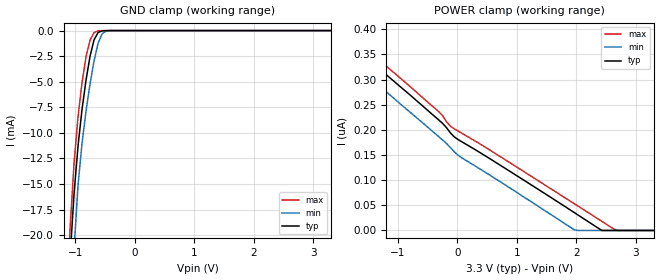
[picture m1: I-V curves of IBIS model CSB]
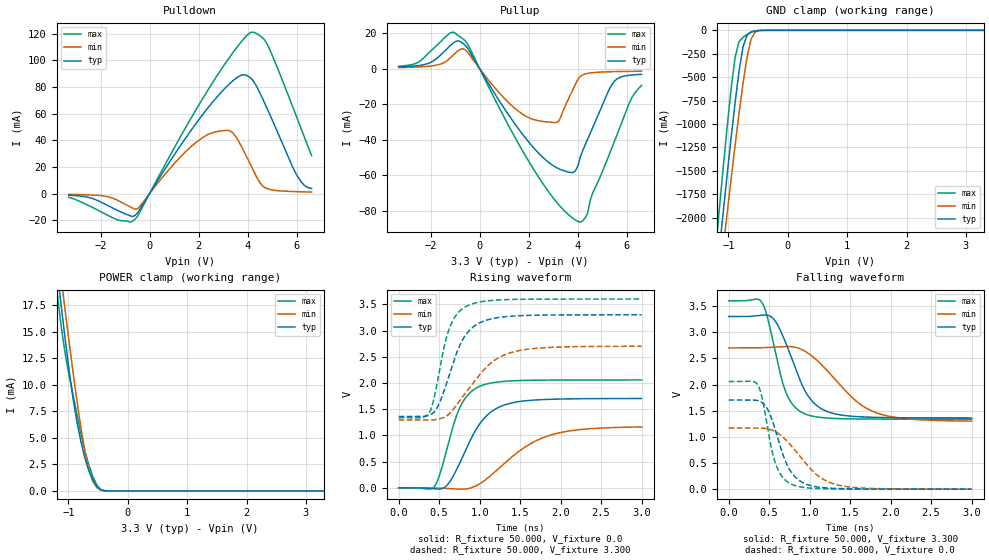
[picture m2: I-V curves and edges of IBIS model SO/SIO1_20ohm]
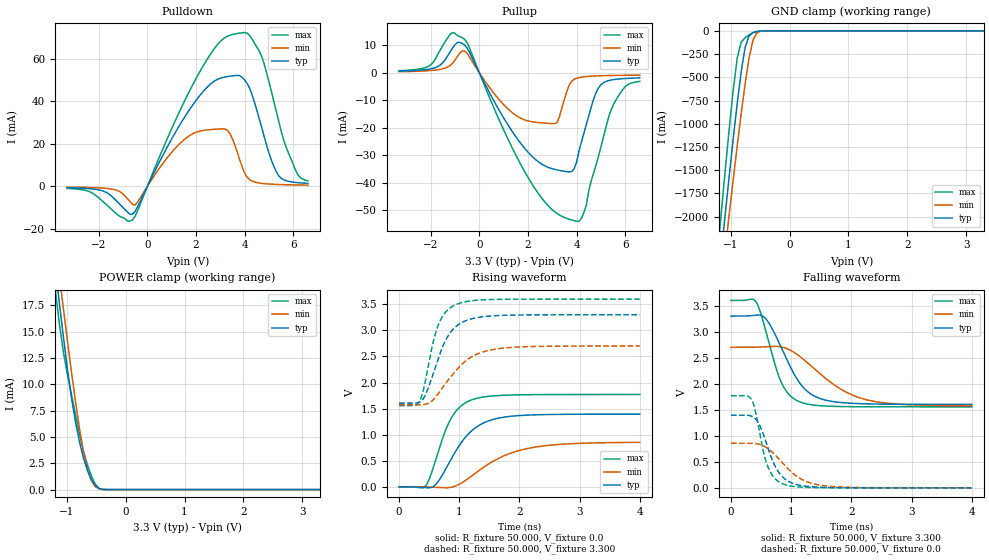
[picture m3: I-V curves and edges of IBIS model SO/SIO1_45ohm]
[IBIS Ver] 5.0
[File Name] mx25l51245gz2i-08g.ibs
[File Rev] @(#)$Revision: 1.1 $
[Date] @(#)$Date: 2025/09/03 17:04:39 $
[Source] From Macronix International Co., Ltd.
   Layout Version   : j
   SPICE Model Version : 18
   HSPICE Tool Version : F-2011.09-SP2(T19)
[Notes] Generated IBIS models from SPICE simulation data
[Disclaimer] FOR UNRESTRICTED INTERNAL USE ONLY
 UNAUTHORIZED REPRODUCTION AND/OR DISTRIBUTION IS STRICTLY PROHIBITED.
 This software code and all associated documentation, comments or other
 information (collectively "Software") is provided "AS IS" without
 warranty of any kind. MACRONIX INTERNATIONAL Co., LTD ("MXIC") does not
 warrant the functions contained in the program will meet your requirements
 or that the operation of the program will be uninterrupted or error-free.
 IN NO EVENT, UNLESS REQUIRED BY APPLICABLE LAW OR AGREED TO IN WRITING,
 MXIC OR ANY PERSON BE LIABLE FOR ANY LOSS, EXPENSE OR DAMAGE, OF ANY TYPE
 OR NATURE ARISING OUT OF THE USE OF, OR INABILITY TO USE THIS SOFTWARE OR
 PROGRAM, INCLUDING, BUT NOT LIMITED TO, CLAIMS, SUITS OR CAUSES OF ACTION
 INVOLVING ALLEGED INFRINGEMENT OF COPYRIGHTS, PATENTS, TRADEMARKS, TRADE
 SECRETS, OR UNFAIR COMPETITION.
[Copyright] Copyright 2025 Macronix International Co., Ltd.
|   Component MX25L51245GZ2I-08G
[Component] MX25L51245GZ2I-08G
[Package Model] 8WSON_8x6
[Manufacturer] Macronix International Co., Ltd.
[Package]|8-LAND WSON (8x6mm)
| variable   typ   min   max
R_pkg   188.8m   NA   NA
L_pkg   0.97nH   NA   NA
C_pkg   0.24pF   NA   NA
[Pin]   signal_name   model_name   R_pin   L_pin   C_pin
1   CS#   CSB   167.4m   0.85n   0.23p
2   SO/SIO1   SO/SIO1   153.8m   0.77n   0.22p
3   WP#/SIO2   WPB/SIO2   263.7m   1.40n   0.26p
4   GND   GND   38.3m   0.21n   3.32p
5   SI/SIO0   SI/SIO0   136.9m   0.68n   0.25p
6   SCLK   SCLK   252.9m   1.35n   0.26p
7   RESET#/SIO3   RESETB/SIO3   158.0m   0.79n   0.23p
8   VCC   POWER   87.8m   0.51n   0.26p
[Pin Mapping]   pulldown_ref   pullup_ref   gnd_clamp_ref   power_clamp_ref
1   NC   NC   GND   VDD
2   GND   VDD   GND   VDD
3   GND   VDD   GND   VDD
4   GND   NC   NC   NC
5   GND   VDD   GND   VDD
6   NC   NC   GND   VDD
7   GND   VDD   GND   VDD
8   NC   VDD   NC   NC
|   Model Selector
[Model Selector]   SO/SIO1
SO/SIO1_15ohm ODS[2:0]=110
SO/SIO1_20ohm ODS[2:0]=101
SO/SIO1_30ohm ODS[2:0]=111
SO/SIO1_45ohm ODS[2:0]=011
SO/SIO1_60ohm ODS[2:0]=010
SO/SIO1_90ohm ODS[2:0]=001
[Model Selector]   WPB/SIO2
WPB/SIO2_15ohm ODS[2:0]=110
WPB/SIO2_20ohm ODS[2:0]=101
WPB/SIO2_30ohm ODS[2:0]=111
WPB/SIO2_45ohm ODS[2:0]=011
WPB/SIO2_60ohm ODS[2:0]=010
WPB/SIO2_90ohm ODS[2:0]=001
[Model Selector]   SI/SIO0
SI/SIO0_15ohm ODS[2:0]=110
SI/SIO0_20ohm ODS[2:0]=101
SI/SIO0_30ohm ODS[2:0]=111
SI/SIO0_45ohm ODS[2:0]=011
SI/SIO0_60ohm ODS[2:0]=010
SI/SIO0_90ohm ODS[2:0]=001
[Model Selector]   RESETB/SIO3
RESETB/SIO3_15ohm ODS[2:0]=110
RESETB/SIO3_20ohm ODS[2:0]=101
RESETB/SIO3_30ohm ODS[2:0]=111
RESETB/SIO3_45ohm ODS[2:0]=011
RESETB/SIO3_60ohm ODS[2:0]=010
RESETB/SIO3_90ohm ODS[2:0]=001
[Define Package Model]  8WSON_8x6
[Manufacturer]  Unknown
[OEM]  Unknown
[Description]  None
[Number Of Pins]  8
[Pin Numbers]
|Pin Num   Terminal Name
1   | 1HPPADCSB:1
2   | 2PADSO:2
3   | 3PADWPB:3
4   | 4GND2:4
5   | 5PADSI:5
6   | 6HPPADSCLK:6
7   | 7PADHOLDB:7
8   | 8VDD2:8
[Model Data]
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[End Model Data]
[End Package Model]
| Models and submodels in the file (26): CSB (Input), SO/SIO1_15ohm (I/O), SO/SIO1_20ohm (I/O), SO/SIO1_30ohm (I/O), SO/SIO1_45ohm (I/O), SO/SIO1_60ohm (I/O), SO/SIO1_90ohm (I/O), WPB/SIO2_15ohm (I/O), WPB/SIO2_20ohm (I/O), WPB/SIO2_30ohm (I/O), WPB/SIO2_45ohm (I/O), WPB/SIO2_60ohm (I/O), WPB/SIO2_90ohm (I/O), SI/SIO0_15ohm (I/O), SI/SIO0_20ohm (I/O), SI/SIO0_30ohm (I/O), SI/SIO0_45ohm (I/O), SI/SIO0_60ohm (I/O), SI/SIO0_90ohm (I/O), SCLK (Input), RESETB/SIO3_15ohm (I/O), RESETB/SIO3_20ohm (I/O), RESETB/SIO3_30ohm (I/O), RESETB/SIO3_45ohm (I/O), RESETB/SIO3_60ohm (I/O), RESETB/SIO3_90ohm (I/O)
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|   Model CSB
[Model] CSB
Model_type Input
Vinl = 0.8
Vinh = 2.31
C_comp   5.834pF   5.578pF   6.135pF
[Temperature Range]   25.000   85.000   -40.000
[Voltage Range]   3.300V   2.700V   3.600V
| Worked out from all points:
|   GND clamp passes 1 mA (typ) near -0.69 V on its own axis
[GND_clamp]
|Voltage   I(typ)   I(min)   I(max)
-3.3V     -2.188A    -2.106A    -2.241A
-1.089V   -22.06mA   -32.21mA   -19.23mA
-1.022V   -15.86mA   -21.31mA   -12.87mA
-955mV    -11.21mA   -15.03mA   -8.341mA
-888mV    -7.655mA   -10.95mA   -5.033mA
-821mV    -4.806mA   -7.837mA   -2.537mA
-754mV    -2.504mA   -5.203mA   -921uA
-687mV    -909.3uA   -2.957mA   -200.2uA
-620mV    -194.4uA   -1.248mA   -23.52uA
-553mV    -25.93uA   -326.1uA   -9.986uA
-486mV    -4.054uA   -51.91uA   -3.775uA
3.3V      0A         0A         0A
[POWER_clamp]
|Voltage   I(typ)   I(min)   I(max)
-3.266V   7.949uA    3.58uA     14.96uA
-2.127V   414.6nA    410.5nA    425nA
-2.06V    402.1nA    384.6nA    417nA
-1.993V   393.3nA    367.5nA    409.7nA
-1.859V   378.7nA    346.3nA    395.7nA
-318mV    220.3nA    187nA      236.8nA
-117mV    193.9nA    164.8nA    207.2nA
84mV      175.7nA    143.6nA    192.7nA
1.96V     35.94nA    1.685nA    53.51nA
2.429V    0A         0A         18.05nA
2.697V    0A         0A         0A
3.3V      0A         0A         0A
|   Model SO/SIO1_20ohm
[Model] SO/SIO1_20ohm
Model_type I/O
Vinl = 0.8
Vinh = 2.31
Vmeas = 1.65
Vref = 3.3
Cref = 30pF
Rref = 25000
Polarity   Non-Inverting
Enable   Active-High
C_comp   5.092pF   4.509pF   5.919pF
[Temperature Range]   25.000   85.000   -40.000
[Voltage Range]   3.300V   2.700V   3.600V
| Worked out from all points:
|   slope of the pulldown table from 0 to 0.495 V, typ, clamps not added: 34 ohm
|   slope of the pullup table from 0 to 0.495 V, typ, clamps not added: 43.6 ohm
|   GND clamp passes 1 mA (typ) near -0.46 V on its own axis
|   POWER clamp passes 1 mA (typ) near -0.59 V on its own axis
|   rising waveform, R_fixture 50.000, V_fixture 0.0: 20-80 % time 364ps typ, 605ps min, 257ps max; typ from 0 V to 1.7 V
|   rising waveform, R_fixture 50.000, V_fixture 3.300: 20-80 % time 289ps typ, 459ps min, 206ps max; typ from 1.36 V to 3.3 V
|   falling waveform, R_fixture 50.000, V_fixture 3.300: 20-80 % time 323ps typ, 544ps min, 224ps max; typ from 3.3 V to 1.36 V
|   falling waveform, R_fixture 50.000, V_fixture 0.0: 20-80 % time 239ps typ, 412ps min, 171ps max; typ from 1.7 V to 0 V
[Pulldown]
|Voltage   I(typ)   I(min)   I(max)
-3.3V     -1.301mA   -636uA     -2.881mA
-1.7V     -9.048mA   -2.426mA   -16.41mA
-600mV    -16.56mA   -11.81mA   -19.49mA
1.4V      39.82mA    30.13mA    47.27mA
2.5V      67.09mA    45.23mA    81.26mA
3.4V      84.69mA    45.31mA    105.9mA
3.8V      89.1mA     33.17mA    115.3mA
4.2V      85.04mA    18.32mA    121.1mA
4.5V      75.19mA    7.903mA    118.2mA
4.8V      63.27mA    3.569mA    111.6mA
6V        13.73mA    1.375mA    56.94mA
6.6V      3.771mA    1.128mA    28.42mA
[Pullup]
|Voltage   I(typ)   I(min)   I(max)
-3.3V     952.2uA    616.7uA    1.352mA
-2.5V     1.723mA    960.2uA    3.597mA
-1.2V     12.89mA    5.972mA    20.05mA
-700mV    14.47mA    11.19mA    16.99mA
1.2V      -26.38mA   -19.36mA   -32.56mA
2.3V      -46mA      -28.99mA   -58.8mA
3.2V      -56.1mA    -29.87mA   -76.1mA
3.8V      -58.39mA   -11.73mA   -84.1mA
4.1V      -49.79mA   -4.389mA   -86.3mA
4.4V      -39.65mA   -2.656mA   -81.31mA
5.4V      -8.754mA   -1.694mA   -44.16mA
6.6V      -3.193mA   -1.446mA   -9.387mA
[GND_clamp]
|Voltage   I(typ)   I(min)   I(max)
-3.3V     -16.24A    -15.3A     -17.39A
-1.223V   -2.784A    -3.093A    -2.393A
-1.156V   -2.365A    -2.711A    -1.93A
-1.089V   -1.952A    -2.332A    -1.476A
-1.022V   -1.546A    -1.958A    -1.038A
-888mV    -775.7mA   -1.232A    -291.2mA
-821mV    -437.1mA   -887.9mA   -120.5mA
-754mV    -176.9mA   -567.1mA   -74.52mA
-620mV    -19.15mA   -98.31mA   -20.19mA
-553mV    -6.822mA   -19.92mA   -6.551mA
-419mV    -216.9uA   -422uA     -102.7uA
3.3V      0A         0A         0A
[POWER_clamp]
|Voltage   I(typ)   I(min)   I(max)
-3.266V   131.1mA    125.3mA    138.5mA
-1.189V   20.74mA    23.17mA    18.61mA
-1.122V   17.48mA    20.07mA    15.53mA
-1.055V   14.33mA    17.02mA    12.93mA
-921mV    8.689mA    11.15mA    9.028mA
-854mV    6.435mA    8.4mA      7.156mA
-787mV    4.584mA    5.871mA    5.294mA
-720mV    3.042mA    3.682mA    3.69mA
-653mV    1.85mA     1.981mA    2.403mA
-586mV    995.3uA    869.3uA    1.328mA
-452mV    95.57uA    70.93uA    116.2uA
3.3V      0A         0A         0A
[Ramp]
| variable   typ   min   max
dV/dt_r   1.022/0.369n   0.696/0.607n   1.235/0.259n
dV/dt_f   1.163/0.323n   0.840/0.552n   1.357/0.225n
R_load = 50.000
[Rising Waveform]
R_fixture= 50.000
V_fixture= 0.0
V_fixture_min= 0.0
V_fixture_max= 0.0
|time   V(typ)   V(min)   V(max)
0s        1.148uV    1.157uV    1.094uV
446ps     -20.45mV   -3.945mV   36.01mV
598ps     49.98mV    -12.15mV   751.6mV
748ps     452.2mV    -24.26mV   1.504V
855ps     811.9mV    -15.56mV   1.773V
998ps     1.214V     73.73mV    1.933V
1.288ns   1.57V      442.7mV    2.028V
1.812ns   1.685V     972.9mV    2.054V
2.238ns   1.699V     1.11V      2.057V
3ns       1.703V     1.16V      2.058V
[Rising Waveform]
R_fixture= 50.000
V_fixture= 3.300
V_fixture_min= 2.700
V_fixture_max= 3.600
|time   V(typ)   V(min)   V(max)
0s        1.361V     1.293V     1.338V
377ps     1.385V     1.293V     1.428V
488ps     1.566V     1.309V     2.101V
565ps     1.868V     1.347V     2.713V
625ps     2.15V      1.412V     3.036V
738ps     2.659V     1.628V     3.345V
844ps     2.949V     1.847V     3.468V
1.138ns   3.22V      2.378V     3.573V
1.418ns   3.276V     2.593V     3.593V
3ns       3.3V       2.699V     3.6V
[Falling Waveform]
R_fixture= 50.000
V_fixture= 3.300
V_fixture_min= 2.700
V_fixture_max= 3.600
|time   V(typ)   V(min)   V(max)
0s        3.3V       2.7V       3.6V
409ps     3.325V     2.704V     3.571V
469ps     3.328V     2.707V     3.337V
555ps     3.254V     2.714V     2.776V
699ps     2.818V     2.725V     1.884V
920ps     1.949V     2.656V     1.454V
1.2ns     1.495V     2.294V     1.361V
1.548ns   1.391V     1.718V     1.343V
1.788ns   1.373V     1.482V     1.34V
3ns       1.361V     1.3V       1.338V
[Falling Waveform]
R_fixture= 50.000
V_fixture= 0.0
V_fixture_min= 0.0
V_fixture_max= 0.0
|time   V(typ)   V(min)   V(max)
0s        1.704V     1.169V     2.058V
359ps     1.692V     1.17V      1.996V
409ps     1.659V     1.167V     1.774V
475ps     1.543V     1.154V     1.23V
579ps     1.119V     1.097V     486.8mV
685ps     597.6mV    973.8mV    194.3mV
785ps     299.3mV    808.9mV    88.21mV
1.088ns   44.26mV    274.6mV    13.12mV
1.356ns   12.19mV    77.67mV    3.983mV
3ns       338.6uV    777.7uV    399.3uV
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|   Model SO/SIO1_45ohm
[Model] SO/SIO1_45ohm
Model_type I/O
Vinl = 0.8
Vinh = 2.31
Vmeas = 1.65
Vref = 3.3
Cref = 30pF
Rref = 25000
Polarity   Non-Inverting
Enable   Active-High
C_comp   5.629pF   5.010pF   6.467pF
[Temperature Range]   25.000   85.000   -40.000
[Voltage Range]   3.300V   2.700V   3.600V
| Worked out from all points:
|   slope of the pulldown table from 0 to 0.495 V, typ, clamps not added: 43.1 ohm
|   slope of the pullup table from 0 to 0.495 V, typ, clamps not added: 58.1 ohm
|   GND clamp passes 1 mA (typ) near -0.46 V on its own axis
|   POWER clamp passes 1 mA (typ) near -0.59 V on its own axis
|   rising waveform, R_fixture 50.000, V_fixture 0.0: 20-80 % time 505ps typ, 791ps min, 359ps max; typ from 0 V to 1.4 V
|   rising waveform, R_fixture 50.000, V_fixture 3.300: 20-80 % time 353ps typ, 521ps min, 260ps max; typ from 1.6 V to 3.3 V
|   falling waveform, R_fixture 50.000, V_fixture 3.300: 20-80 % time 464ps typ, 785ps min, 326ps max; typ from 3.3 V to 1.6 V
|   falling waveform, R_fixture 50.000, V_fixture 0.0: 20-80 % time 297ps typ, 477ps min, 215ps max; typ from 1.4 V to 0 V
[Pulldown]
|Voltage   I(typ)   I(min)   I(max)
-3.3V     -591uA     -326uA     -931uA
-1.8V     -2.257mA   -822.7uA   -7.366mA
-600mV    -13mA      -8.552mA   -15.65mA
1.1V      24.38mA    17.36mA    29.77mA
2.1V      41.98mA    25.88mA    52.87mA
3.3V      51.74mA    26.31mA    70.76mA
4V        50.11mA    6.328mA    72.45mA
4.3V      43.37mA    2.555mA    69.5mA
4.7V      27.8mA     1.443mA    61.34mA
5.4V      4.984mA    885.4uA    30.72mA
6.1V      1.868mA    676.1uA    7.479mA
6.6V      1.421mA    592.1uA    2.634mA
[Pullup]
|Voltage   I(typ)   I(min)   I(max)
-3.3V     533.6uA    364.2uA    696.9uA
-2V       1.407mA    782.7uA    2.838mA
-1.1V     8.944mA    3.438mA    14.61mA
-600mV    10.04mA    7.842mA    12.1mA
900mV     -14.93mA   -10.66mA   -18.84mA
2V        -28.89mA   -17.56mA   -38.08mA
3.2V      -35.41mA   -18.11mA   -51.29mA
4V        -32.63mA   -2.029mA   -54.11mA
4.3V      -22.07mA   -1.501mA   -50.96mA
4.9V      -5.575mA   -1.148mA   -30.47mA
5.6V      -2.422mA   -998uA     -10.22mA
6.6V      -1.889mA   -904uA     -3.175mA
[GND_clamp]
|Voltage   I(typ)   I(min)   I(max)
-3.3V     -16.24A    -15.3A     -17.39A
-1.223V   -2.784A    -3.093A    -2.393A
-1.156V   -2.365A    -2.711A    -1.93A
-1.089V   -1.952A    -2.332A    -1.476A
-1.022V   -1.546A    -1.958A    -1.038A
-888mV    -775.7mA   -1.232A    -291.2mA
-821mV    -437.1mA   -887.9mA   -120.5mA
-754mV    -176.9mA   -567.1mA   -74.52mA
-620mV    -19.15mA   -98.31mA   -20.19mA
-553mV    -6.822mA   -19.92mA   -6.551mA
-419mV    -216.9uA   -422uA     -102.7uA
3.3V      0A         0A         0A
[POWER_clamp]
|Voltage   I(typ)   I(min)   I(max)
-3.266V   131.1mA    125.3mA    138.5mA
-1.189V   20.74mA    23.17mA    18.61mA
-1.122V   17.48mA    20.07mA    15.53mA
-1.055V   14.33mA    17.02mA    12.93mA
-921mV    8.689mA    11.15mA    9.028mA
-854mV    6.435mA    8.4mA      7.156mA
-787mV    4.584mA    5.871mA    5.294mA
-720mV    3.042mA    3.682mA    3.69mA
-653mV    1.85mA     1.981mA    2.403mA
-586mV    995.3uA    869.3uA    1.328mA
-452mV    95.57uA    70.93uA    116.2uA
3.3V      0A         0A         0A
[Ramp]
| variable   typ   min   max
dV/dt_r   0.837/0.507n   0.512/0.788n   1.063/0.363n
dV/dt_f   1.018/0.474n   0.675/0.784n   1.226/0.332n
R_load = 50.000
[Rising Waveform]
R_fixture= 50.000
V_fixture= 0.0
V_fixture_min= 0.0
V_fixture_max= 0.0
|time   V(typ)   V(min)   V(max)
0s        1.492uV    1.514uV    1.413uV
446ps     -16.97mV   -3.037mV   23.28mV
515ps     -17.91mV   -5.656mV   187.3mV
618ps     55.67mV    -10.81mV   550.6mV
845ps     489.4mV    -12.55mV   1.269V
998ps     787.8mV    47.43mV    1.517V
1.198ns   1.065V     199.6mV    1.664V
1.558ns   1.29V      486.8mV    1.743V
2.168ns   1.377V     742.3mV    1.767V
4ns       1.395V     852.7mV    1.771V
[Rising Waveform]
R_fixture= 50.000
V_fixture= 3.300
V_fixture_min= 2.700
V_fixture_max= 3.600
|time   V(typ)   V(min)   V(max)
0s        1.604V     1.572V     1.556V
337ps     1.623V     1.571V     1.631V
448ps     1.787V     1.586V     2.089V
566ps     2.161V     1.666V     2.771V
646ps     2.441V     1.777V     3.085V
778ps     2.821V     1.991V     3.356V
938ps     3.067V     2.218V     3.491V
1.235ns   3.23V      2.512V     3.573V
1.649ns   3.285V     2.649V     3.595V
4ns       3.3V       2.7V       3.6V
[Falling Waveform]
R_fixture= 50.000
V_fixture= 3.300
V_fixture_min= 2.700
V_fixture_max= 3.600
|time   V(typ)   V(min)   V(max)
0s        3.3V       2.7V       3.6V
419ps     3.319V     2.703V     3.57V
585ps     3.241V     2.711V     2.989V
828ps     2.717V     2.71V      2.05V
959ps     2.391V     2.66V      1.8V
1.124ns   2.044V     2.543V     1.662V
1.484ns   1.715V     2.187V     1.578V
1.838ns   1.638V     1.888V     1.562V
2.188ns   1.616V     1.713V     1.558V
4ns       1.604V     1.575V     1.557V
[Falling Waveform]
R_fixture= 50.000
V_fixture= 0.0
V_fixture_min= 0.0
V_fixture_max= 0.0
|time   V(typ)   V(min)   V(max)
0s        1.396V     856.9mV    1.771V
339ps     1.379V     857.9mV    1.703V
399ps     1.334V     854mV      1.511V
465ps     1.229V     840.7mV    1.134V
609ps     787.8mV    759.7mV    419.5mV
734ps     415.8mV    632mV      175mV
873ps     194mV      459.5mV    72.31mV
1.175ns   42.53mV    163.9mV    14.71mV
1.548ns   9.518mV    40.35mV    3.367mV
4ns       234.1uV    227.2uV    292.9uV
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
